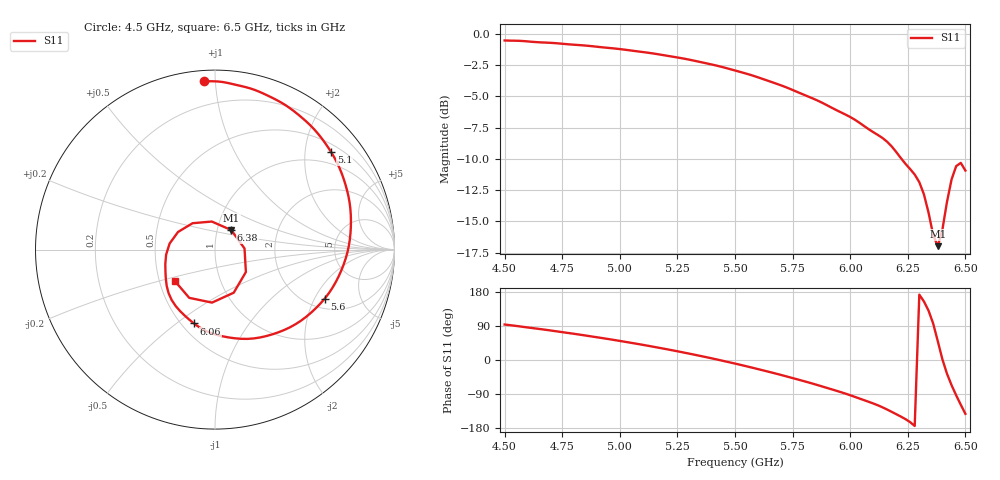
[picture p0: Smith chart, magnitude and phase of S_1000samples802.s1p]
! TOUCHSTONE file generated by CST MICROWAVE STUDIO
! Date and time: Sat Oct 29 10:48:23 2022
! Project name: L.cst
! Parameters = {Di=1.27; Epsilon_r=1.56; InnerDiameter=1.27; Length=2; Lf=10; Lg=60; OuterConductorThickness=0.2921; OuterDiameter=3.6; Wf=3; Wp=41.2; de=1.5; df=6.8; g=0.8; gx=4.56035; gy=3.85383; h=2.34; hf=1.524; px=13.9619; py=14.0722; w=9.7; wx=9.40158; wy=10.2184}
! Header version: 2018
! Port assignment regex: !\s*Touchstone port\s*([0-9]+)\s*=\s*(CST MWS port|CST DS port)\s*([0-9]+|Zmin|Zmax)\s*\(\"(.*)\"\)(\s*mode\s*([0-9]+))?.*
! Touchstone port assignment:
! Touchstone port 1 = CST MWS port 1 ("")
# GHz S DB R 50
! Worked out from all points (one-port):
!   101 points, 4.5 GHz to 6.5 GHz, reference 50 ohm
!   lowest |S11| = -17.0 dB at 6.38 GHz (marker M1), VSWR 1.33, Z = 58.4 + j13 ohm
!   |S11| at or under -10 dB: 6.223 GHz to end of sweep
!   S11 on the Smith chart (normalised r, x): 4.5 GHz: 0.06, +0.94; 5.1 GHz: 0.68, +2.59; 5.6 GHz: 2.45, -2.42; 6.06 GHz: 0.58, -0.58; 6.38 GHz: 1.17, +0.26; 6.5 GHz: 0.60, -0.23
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4.5  -0.54 93.6
4.6  -0.61 85.9
4.76  -0.82 72.7
4.86  -0.96 63.8
5  -1.23 50.4
5.1  -1.46 40.0
5.26  -1.93 21.8
5.38  -2.38 6.9
5.5  -2.94 -9.4
5.6  -3.49 -24.1
5.76  -4.57 -49.3
5.88  -5.53 -70.1
6  -6.65 -93.0
6.06  -7.37 -105.9
6.12  -8.09 -119.5
6.18  -9.00 -136.8
6.26  -10.81 -163.9
6.3  -11.86 172.4
6.32  -12.83 154.5
6.34  -14.29 130.4
6.36  -16.06 96.5
6.38  -16.97 50.1
6.4  -15.67 2.2
6.42  -13.45 -36.0
6.44  -11.64 -66.5
6.46  -10.58 -93.2
6.48  -10.32 -118.1
6.5  -10.93 -142.0
